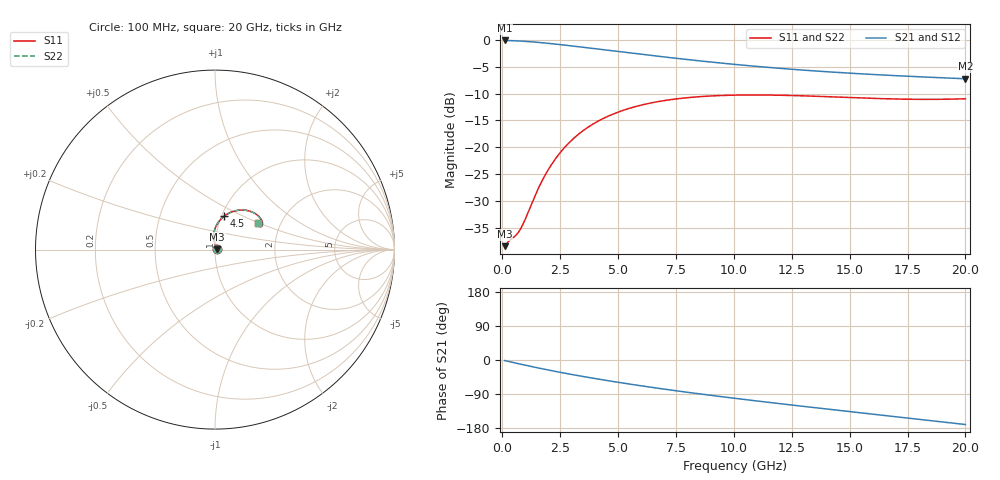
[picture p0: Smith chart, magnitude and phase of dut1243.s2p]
! Touchstone file exported from HFSS 2024.1.0
!  File:  C:/UserFiles/LocalFiles/RDL_TSV_Batchsim/temp_RDL_TSV_1243_1780267523.aedt
!  Generated:  07:01:14 AM Jun  1, 2026
!  Design:  RDL_TSV
!  Project:  temp_RDL_TSV_1243_1780267523
!  Setup:  Setup1
!  Solution:  Sweep
! Variables:
!  dtsv = 8.8um
!  hbump = 3um
!  htsv = 59.09um
!  ldown = 323.99um
!  lrdl = 392.72um
!  p = 40
!  p1 = 43.84um
!  rhole = 10um
!  subl = 2542.85um
!  t = 450um
!  tdown = 3.64um
!  trdl = 4.85um
!  viad = 10um
!  wdown = 28.48um
!  wrdl = 15.17um
!  xbump = 18um
# GHz S MA R 50.000000
! Terminal data exported
! Port[1] = TM1_1_T1
! Port[2] = TM1_4_T1
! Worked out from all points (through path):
!   200 points, 100 MHz to 20 GHz, reference 50 ohm
!   highest |S21| = -0.11 dB at 100 MHz (marker M1); lowest = -7.2 dB at 20 GHz (marker M2)
!   group delay of S21, straight-line fit = 22.4 ps
!   lowest |S11| = -38.4 dB at 100 MHz (marker M3), VSWR 1.02, Z = 51.2 + j0.243 ohm
!   |S11| at or under -10 dB: start of sweep to end of sweep
!   |S22| runs from -38.4 to -10.3 dB; largest |S21 - S12| = 9.2e-15
!   S11 on the Smith chart (normalised r, x): 100 MHz: 1.02, +0.00; 4.5 GHz: 1.03, +0.40; 20 GHz: 1.54, +0.49
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0.1  0.01204 11.4  0.9879 -1.4  0.9879 -1.4  0.01204 11.4
! Gamma 0 0 0 0
! Port Impedance 50 0 50 0
0.3  0.01355 27.1  0.9853 -4.3  0.9853 -4.3  0.01355 27.0
0.6  0.01529 48.5  0.9797 -8.4  0.9797 -8.4  0.01529 48.4
0.8  0.01759 64.0  0.9748 -11.1  0.9748 -11.1  0.01758 64.0
1  0.02167 77.3  0.9689 -13.8  0.9689 -13.8  0.02166 77.2
1.6  0.04335 95.2  0.9461 -21.6  0.9461 -21.6  0.04332 95.2
1.9  0.05763 96.7  0.9328 -25.4  0.9328 -25.4  0.05759 96.7
2.2  0.07316 96.1  0.9186 -29.0  0.9186 -29.0  0.07311 96.1
2.8  0.1058 91.8  0.8888 -36.0  0.8888 -36.0  0.1058 91.8
3.5  0.1435 85.0  0.8535 -43.7  0.8535 -43.7  0.1435 85.0
4  0.1688 79.9  0.8286 -48.9  0.8286 -48.9  0.1687 79.9
4.5  0.1919 74.9  0.8041 -54.0  0.8041 -54.0  0.1918 74.9
5.6  0.2345 64.8  0.7528 -64.5  0.7528 -64.5  0.2344 64.8
6.8  0.2681 55.3  0.7016 -75.2  0.7016 -75.2  0.268 55.4
8.4  0.2949 45.2  0.642 -88.5  0.642 -88.5  0.2947 45.2
10.1  0.3064 37.0  0.5897 -101.5  0.5897 -101.5  0.3061 37.1
11.7  0.3063 31.6  0.5499 -113.2  0.5499 -113.2  0.3061 31.6
13.4  0.2996 28.0  0.5159 -125.1  0.5159 -125.1  0.2993 28.1
15  0.2908 26.6  0.4902 -136.1  0.4902 -136.1  0.2905 26.6
16.7  0.2827 26.9  0.468 -147.7  0.468 -147.7  0.2825 27.0
18.3  0.2796 28.7  0.4506 -158.6  0.4506 -158.6  0.2794 28.8
20  0.2833 31.3  0.4347 -170.3  0.4347 -170.3  0.2832 31.5
